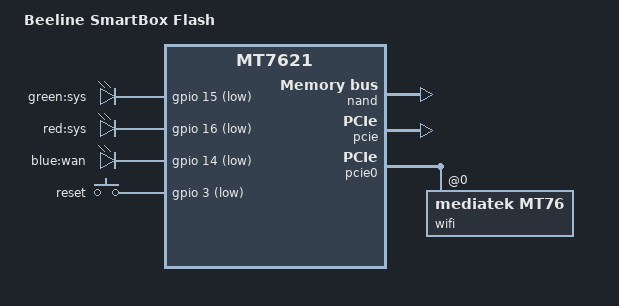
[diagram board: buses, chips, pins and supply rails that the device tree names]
// SPDX-License-Identifier: GPL-2.0-or-later OR MIT

#include "mt7621.dtsi"

#include <dt-bindings/gpio/gpio.h>
#include <dt-bindings/input/input.h>

/ {
	compatible = "beeline,smartbox-flash", "mediatek,mt7621-soc";
	model = "Beeline SmartBox Flash";

	aliases {
		label-mac-device = &gmac0;

		led-boot = &led_sys_red;
		led-failsafe = &led_sys_red;
		led-running = &led_sys_green;
		led-upgrade = &led_sys_red;
	};

	leds {
		compatible = "gpio-leds";

		led_sys_green: sys_green {
			label = "green:sys";
			gpios = <&gpio 15 GPIO_ACTIVE_LOW>;
		};

		led_sys_red: sys_red {
			label = "red:sys";
			gpios = <&gpio 16 GPIO_ACTIVE_LOW>;
		};

		wan_blue {
			label = "blue:wan";
			gpios = <&gpio 14 GPIO_ACTIVE_LOW>;
		};
	};

	keys {
		compatible = "gpio-keys";

		reset {
			label = "reset";
			gpios = <&gpio 3 GPIO_ACTIVE_LOW>;
			linux,code = <KEY_RESTART>;
		};
	};
};

&nand {
	status = "okay";

	partitions {
		compatible = "fixed-partitions";
		#address-cells = <1>;
		#size-cells = <1>;

		partition@0 {
			label = "u-boot";
			reg = <0x0 0x100000>;
			read-only;
		};

		partition@100000 {
			label = "u-boot-env";
			reg = <0x100000 0x100000>;
		};

		factory: partition@200000 {
			label = "Factory";
			reg = <0x200000 0x100000>;
			read-only;
		};

		partition@300000 {
			label = "kernel";
			reg = <0x300000 0x2000000>;
		};

		partition@2300000 {
			label = "Firmware2";
			reg = <0x2300000 0x2000000>;
			read-only;
		};

		partition@4300000 {
			label = "glbcfg";
			reg = <0x4300000 0x200000>;
			read-only;
		};

		partition@4500000 {
			label = "board_data";
			reg = <0x4500000 0x100000>;
			read-only;
		};

		partition@4600000 {
			label = "glbcfg2";
			reg = <0x4600000 0x200000>;
			read-only;
		};

		partition@4800000 {
			label = "board_data2";
			reg = <0x4800000 0x100000>;
			read-only;
		};

		partition@4900000 {
			label = "ubi";
			reg = <0x4900000 0x3680000>;
		};
	};
};

&pcie {
	status = "okay";
};

&pcie0 {
	wifi@0,0 {
		compatible = "mediatek,mt76";
		reg = <0x0000 0 0 0 0>;
		mediatek,mtd-eeprom = <&factory 0x0>;
	};
};

&gmac0 {
	mtd-mac-address = <&factory 0xfff0>;
};

&switch0 {
	ports {
		port@2 {
			status = "okay";
			label = "lan2";
		};

		port@3 {
			status = "okay";
			label = "lan1";
		};

		port@4 {
			status = "okay";
			label = "wan";
		};
	};
};

&state_default {
	gpio {
		groups = "jtag", "uart2", "uartlite3", "wdt";
		function = "gpio";
	};
};
